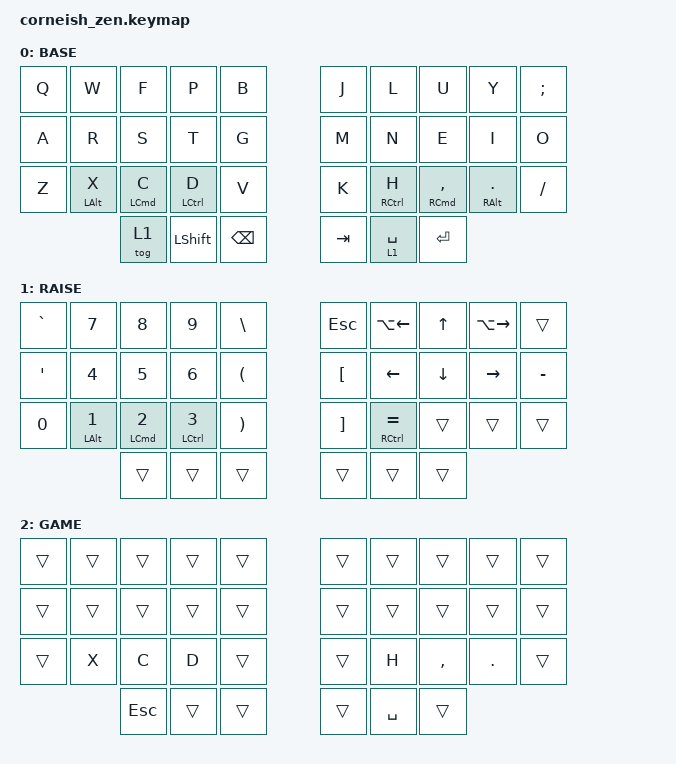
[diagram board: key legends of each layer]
#include <behaviors.dtsi>
#include <dt-bindings/zmk/bt.h>
#include <dt-bindings/zmk/keys.h>
#include <dt-bindings/zmk/outputs.h>

/ {
  chosen {
    zmk,matrix_transform = &five_column_transform;
  };
};

&lt {
  flavor = "balanced";
};

/ {
  behaviors {
    olmt: outer_left_mod_tap {
      compatible = "zmk,behavior-hold-tap";
      label = "OUTER_LEFT_MOD_TAP";
      #binding-cells = <2>;
      bindings = <&kp>, <&kp>;
      flavor = "tap-preferred";
      tapping-term-ms = <200>;
      hold-trigger-key-positions = <21 22 5 6 7 8 9 15 16 17 18 19 25 26 27 28 29 33 34 35>;
    };

    lmt: inner_left_mod_tap {
      compatible = "zmk,behavior-hold-tap";
      label = "INNER_LEFT_MOD_TAP";
      #binding-cells = <2>;
      bindings = <&kp>, <&kp>;
      flavor = "tap-preferred";
      tapping-term-ms = <200>;
      hold-trigger-key-positions = <5 6 7 8 9 15 16 17 18 19 25 26 27 28 29 33 34 35>;
    };

    rmt: inner_right_mod_tap {
      compatible = "zmk,behavior-hold-tap";
      label = "INNER_RIGHT_MOD_TAP";
      #binding-cells = <2>;
      bindings = <&kp>, <&kp>;
      flavor = "tap-preferred";
      tapping-term-ms = <200>;
      hold-trigger-key-positions = <0 1 2 3 4 10 11 12 13 14 20 21 22 23 24 30 31 32>;
    };

    ormt: outer_right_mod_tap {
      compatible = "zmk,behavior-hold-tap";
      label = "OUTER_RIGHT_MOD_TAP";
      #binding-cells = <2>;
      bindings = <&kp>, <&kp>;
      flavor = "tap-preferred";
      tapping-term-ms = <200>;
      hold-trigger-key-positions = <27 28 0 1 2 3 4 10 11 12 13 14 20 21 22 23 24 30 31 32>;
    };
  };
};

/ {
  combos {
    compatible = "zmk,combos";

    combo_clr {
        timeout-ms = <50>;
        key-positions = <2 3 6>;
        bindings = <&bt BT_CLR>;
    };

    combo_out {
        timeout-ms = <50>;
        key-positions = <2 3 7>;
        bindings = <&out OUT_TOG>;
    };

    combo_game {
        timeout-ms = <50>;
        key-positions = <2 3 8>;
        bindings = <&tog 2>;
    };
  };
};

/ {
  keymap {
    compatible = "zmk,keymap";

    default_layer {
      label = "BASE";
      bindings = <
        &kp Q &kp W &kp F &kp P &kp B &kp J &kp L &kp U &kp Y &kp SEMI
        &kp A &kp R &kp S &kp T &kp G &kp M &kp N &kp E &kp I &kp O
        &kp Z &olmt LALT X &olmt LCMD C &lmt LCTRL D &kp V &kp K &rmt RCTRL H &ormt RCMD COMMA &ormt RALT DOT &kp SLASH
        &tog 1 &kp LSHFT &kp BSPC &kp TAB &lt 1 SPACE &kp ENTER
      >;
    };

    raise_layer {
      label = "RAISE";
      bindings = <
        &kp GRAVE &kp N7 &kp N8 &kp N9 &kp BSLH &kp ESC &kp LA(LEFT) &kp UP &kp LA(RIGHT) &trans
        &kp APOS &kp N4 &kp N5 &kp N6 &kp LPAR &kp LBKT &kp LEFT &kp DOWN &kp RIGHT &kp MINUS
        &kp N0 &olmt LALT N1 &olmt LCMD N2 &lmt LCTRL N3 &kp RPAR &kp RBKT &rmt RCTRL EQUAL &trans &trans &trans
        &trans &trans &trans &trans &trans &trans
      >;
    };

    game_layer {
      label = "GAME";
      bindings = <
        &trans &trans &trans &trans &trans &trans &trans &trans &trans &trans
        &trans &trans &trans &trans &trans &trans &trans &trans &trans &trans
        &trans &kp X &kp C &kp D &trans &trans &kp H &kp COMMA &kp DOT &trans
        &kp ESC &trans &trans &trans &kp SPACE &trans
      >;
    };
  };
};
